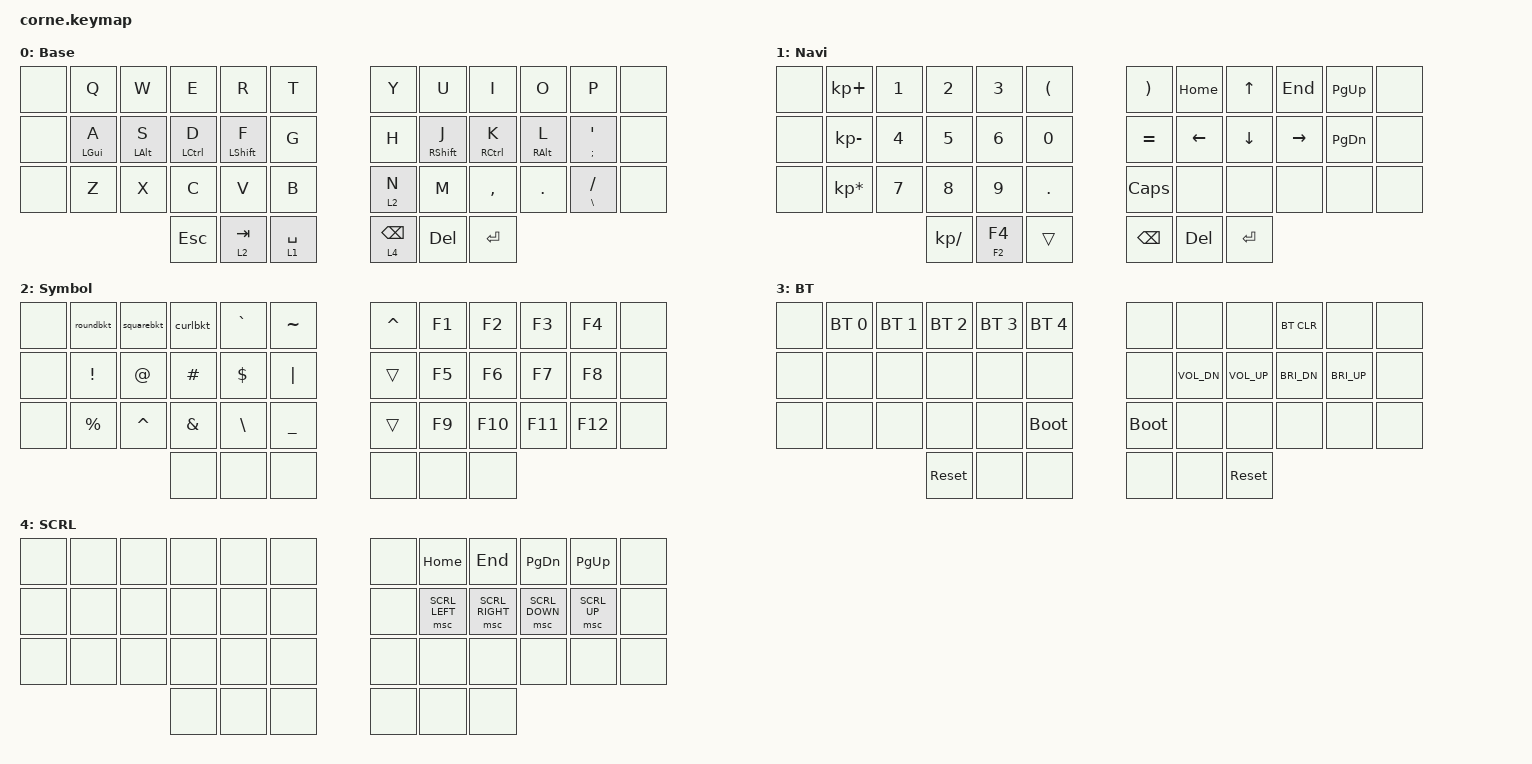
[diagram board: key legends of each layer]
/*
 * Copyright (c) 2020 The ZMK Contributors
 *
 * SPDX-License-Identifier: MIT
 */

#define ZMK_POINTING_DEFAULT_MOVE_VAL 1500  // default: 600
#define ZMK_POINTING_DEFAULT_SCRL_VAL 50    // default: 10

#include <behaviors.dtsi>
#include <dt-bindings/zmk/keys.h>
#include <dt-bindings/zmk/bt.h>
#include <dt-bindings/zmk/pointing.h>

/ { 
behaviors {

      macros {
         roundbkt: round_brackets {
            label= "round_brackets";
            compatible = "zmk,behavior-macro";
            #binding-cells = <0>;
            bindings
                = <&macro_tap &kp LPAR &kp RPAR>;
         };
         
         squarebkt: square_brackets {
            label= "square_brackets";
            compatible = "zmk,behavior-macro";
            #binding-cells = <0>;
            bindings
                = <&macro_tap &kp LBKT &kp RBKT>;
         };
         
         curlbkt: curl_brackets {
            label= "curl_brackets";
            compatible = "zmk,behavior-macro";
            #binding-cells = <0>;
            bindings
                = <&macro_tap &kp LBRC &kp RBRC>;
         };
      };
      
hm: homerow_mods {
        compatible = "zmk,behavior-hold-tap";
        label = "HOMEROW_MODS";
        #binding-cells = <2>;
        tapping_term_ms = <150>;
        flavor = "tap-preferred";
        bindings = <&kp>, <&kp>;
    };

combos {
    compatible = "zmk,combos";
    combo_layer3 {
            timeout-ms = <50>;
            key-positions = <38 39>;
            bindings = <&mo 3>;
       };
    };
};

        keymap {
                compatible = "zmk,keymap";

                default_layer {
// -----------------------------------------------------------------------------------------
// |  TAB |  Q  |  W  |  E  |  R  |  T  |   |  Y  |  U   |  I  |  O  |  P  | BKSP |
// | CTRL |  A  |  S  |  D  |  F  |  G  |   |  H  |  J   |  K  |  L  |  ;  |  '   |
// | SHFT |  Z  |  X  |  C  |  V  |  B  |   |  N  |  M   |  ,  |  .  |  /  | ESC  |
//                    | GUI | LWR | SPC |   | ENT | RSE  | ALT |
                        label = "Base";
                        bindings = <
   &none &kp Q      &kp W         &kp E         &kp R       &kp T             &kp Y      &kp U       &kp I       &kp O      &kp P         &none
   &none &hm LGUI A &hm LALT S    &hm LCTRL D   &hm LSHFT F &kp G             &kp H      &hm RSHFT J &hm RCTRL K &hm RALT L &hm SEMI SQT  &none
   &none &kp Z      &kp X         &kp C         &kp V       &kp B             &lt 2 N    &kp M       &kp COMMA   &kp DOT    &hm BSLH FSLH &none
                    &kp ESC       &lt 2 TAB     &lt 1 SPACE                   &lt 4 BSPC &kp DEL     &kp ENTER
                        >;
                };
                navnum_layer {
// -----------------------------------------------------------------------------------------
// |  TAB |  1  |  2  |  3  |  4  |  5  |   |  6  |  7  |  8  |  9  |  0  | BKSP |
// | BTCLR| BT1 | BT2 | BT3 | BT4 | BT5 |   | LFT | DWN |  UP | RGT |     |      |
// | SHFT |     |     |     |     |     |   |     |     |     |     |     |      |
//                    | GUI |     | SPC |   | ENT |     | ALT |
                        label = "Navi";
                        bindings = <
   &none &kp KP_PLUS     &kp N1 &kp N2        &kp N3    &kp LPAR         &kp RPAR  &kp HOME &kp UP   &kp END   &kp PG_UP &none
   &none &kp KP_MINUS    &kp N4 &kp N5        &kp N6    &kp N0           &kp EQUAL &kp LEFT &kp DOWN &kp RIGHT &kp PG_DN &none
   &none &kp KP_MULTIPLY &kp N7 &kp N8        &kp N9    &kp DOT          &kp CAPS  &none    &none    &none     &none     &none
                                &kp KP_DIVIDE &hm F2 F4 &trans           &kp BSPC  &kp DEL  &kp ENTER
                        >;
                };

                symbol_layer {
// -----------------------------------------------------------------------------------------
// |  TAB |  !  |  @  |  #  |  $  |  %  |   |  ^  |  &  |  *  |  (  |  )  | BKSP |
// | CTRL |     |     |     |     |     |   |  -  |  =  |  [  |  ]  |  \  |  `   |
// | SHFT |     |     |     |     |     |   |  _  |  +  |  {  |  }  | "|" |  ~   |
//                    | GUI |     | SPC |   | ENT |     | ALT |
                        label = "Symbol";
                        bindings = <
   &none  &roundbkt &squarebkt &curlbkt      &kp GRAVE     &kp TILDE             &kp CARET &kp F1 &kp F2    &kp F3  &kp F4  &none
   &none  &kp EXCL  &kp AT     &kp HASH      &kp DOLLAR    &kp PIPE              &trans    &kp F5 &kp F6    &kp F7  &kp F8  &none
   &none  &kp PRCNT &kp CARET  &kp AMPERSAND &kp BACKSLASH &kp UNDERSCORE        &trans    &kp F9 &kp F10   &kp F11 &kp F12 &none
                    	       &none         &none         &none                 &none    &none  &none
                        >;
                };
                btfc_layer {
// -----------------------------------------------------------------------------------------
// |  TAB |  1  |  2  |  3  |  4  |  5  |   |  6  |  7  |  8  |  9  |  0  | BKSP |
// | BTCLR| BT1 | BT2 | BT3 | BT4 | BT5 |   | LFT | DWN |  UP | RGT |     |      |
// | SHFT |     |     |     |     |     |   |     |     |     |     |     |      |
//                    | GUI |     | SPC |   | ENT |     | ALT |
                        label = "BT";
                        bindings = <
   &none &bt BT_SEL 0 &bt BT_SEL 1 &bt BT_SEL 2 &bt BT_SEL 3 &bt BT_SEL 4     &none       &none        &none        &bt BT_CLR   &none &none
   &none &none        &none        &none        &none        &none            &none       &kp C_VOL_DN &kp C_VOL_UP &kp C_BRI_DN &kp C_BRI_UP &none
   &none &none        &none        &none        &none        &bootloader      &bootloader &none        &none        &none        &none &none
                                   &sys_reset   &none        &none            &none       &none        &sys_reset
                        >;
                };
                scrolling_layer {
// -----------------------------------------------------------------------------------------
// |  TAB |  1  |  2  |  3  |  4  |  5  |   |  6  |  7  |  8  |  9  |  0  | BKSP |
// | BTCLR| BT1 | BT2 | BT3 | BT4 | BT5 |   | LFT | DWN |  UP | RGT |     |      |
// | SHFT |     |     |     |     |     |   |     |     |     |     |     |      |
//                    | GUI |     | SPC |   | ENT |     | ALT |
                        label = "SCRL";
                        bindings = <
   &none &none &none &none &none &none            &none &kp HOME       &kp END         &kp PG_DN      &kp PG_UP    &none
   &none &none &none &none &none &none            &none &msc SCRL_LEFT &msc SCRL_RIGHT &msc SCRL_DOWN &msc SCRL_UP &none
   &none &none &none &none &none &none            &none &none          &none           &none          &none        &none
                     &none &none &none            &none &none          &none
                        >;
                };
        };
};
